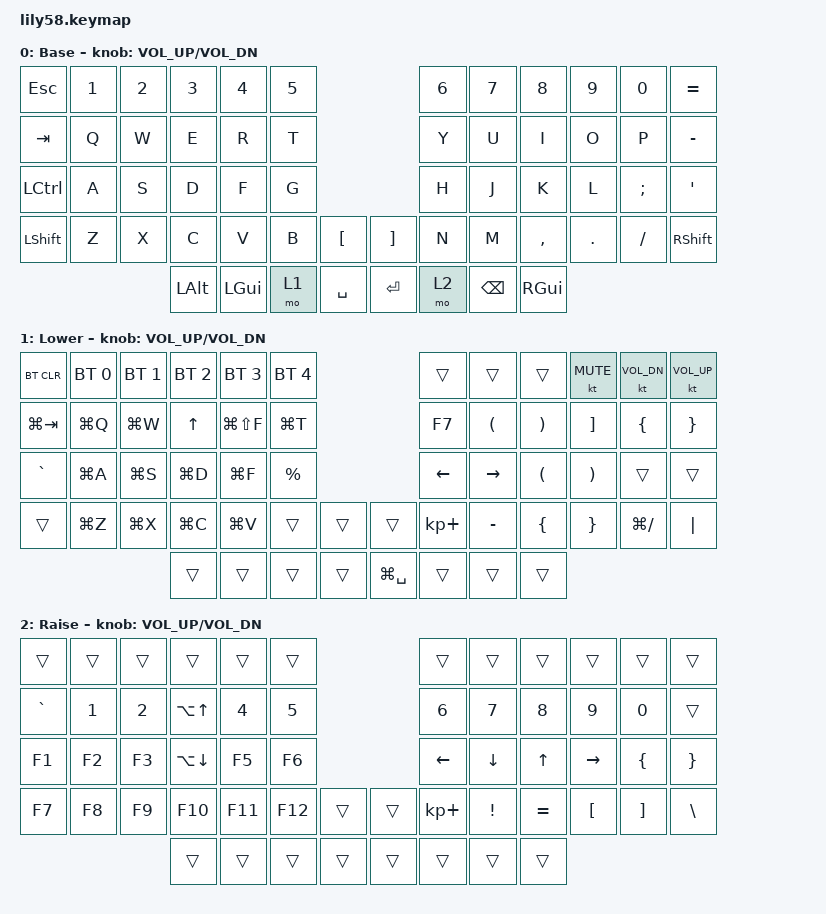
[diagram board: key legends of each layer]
/*
 * Copyright (c) 2020 The ZMK Contributors
 *
 * SPDX-License-Identifier: MIT
 */

#include <behaviors.dtsi>
#include <dt-bindings/zmk/bt.h>
#include <dt-bindings/zmk/keys.h>
#include <dt-bindings/zmk/keys.h>

/ {
    keymap {
        compatible = "zmk,keymap";

        default_layer {
            // ------------------------------------------------------------------------------------------------------------
            // |  ESC  |  1  |  2  |  3   |  4   |  5   |                   |  6   |  7    |  8    |  9   |   0   |   `   |
            // |  TAB  |  Q  |  W  |  E   |  R   |  T   |                   |  Y   |  U    |  I    |  O   |   P   |   -   |
            // |  CTRL |  A  |  S  |  D   |  F   |  G   |                   |  H   |  J    |  K    |  L   |   ;   |   '   |
            // | SHIFT |  Z  |  X  |  C   |  V   |  B   |   "["  |  |  "]"  |  N   |  M    |  ,    |  .   |   /   | SHIFT |
            //                     | ALT  | GUI  | LOWER|  SPACE |  | ENTER | RAISE| BSPC  | GUI   |

            label = "Base";
            bindings = <
&kp ESC    &kp N1  &kp N2  &kp N3    &kp N4    &kp N5                         &kp N6  &kp N7         &kp N8     &kp N9   &kp N0    &kp EQUAL
&kp TAB    &kp Q   &kp W   &kp E     &kp R     &kp T                          &kp Y   &kp U          &kp I      &kp O    &kp P     &kp MINUS
&kp LCTRL  &kp A   &kp S   &kp D     &kp F     &kp G                          &kp H   &kp J          &kp K      &kp L    &kp SEMI  &kp SQT
&kp LSHFT  &kp Z   &kp X   &kp C     &kp V     &kp B   &kp LBKT     &kp RBKT  &kp N   &kp M          &kp COMMA  &kp DOT  &kp FSLH  &kp RSHFT
                           &kp LALT  &kp LGUI  &mo 1   &kp SPACE    &kp RET   &mo 2   &kp BACKSPACE  &kp RGUI
            >;

            sensor-bindings = <&inc_dec_kp C_VOL_UP C_VOL_DN>;
        };

        lower_layer {
            // ------------------------------------------------------------------------------------------------------------
            // | BTCLR | BT1 | BT2 |  BT3 |  BT4 |  BT5 |                   |      |       |       |      |       |       |
            // |  F1   |  F2 |  F3 |  F4  |  F5  |  F6  |                   |  F7  |  F8   |  F9   |  F10 |  F11  |  F12  |
            // |   `   |  !  |  @  |  #   |  $   |  %   |                   |  ^   |  &    |  *    |  (   |   )   |   ~   |
            // |       |     |     |      |      |      |        |  |       |      |  _    |  +    |  {   |   }   |  "|"  |
            //                     |      |      |      |        |  |       |      |       |       |

            label = "Lower";
            bindings = <
&bt BT_CLR   &bt BT_SEL 0  &bt BT_SEL 1  &bt BT_SEL 2  &bt BT_SEL 3   &bt BT_SEL 4                           &trans       &trans                &trans                 &kt K_MUTE             &kt C_VOL_DN    &kt C_VOL_UP
&kp LG(TAB)  &kp LG(Q)     &kp LG(W)     &kp UP_ARROW  &kp LG(LS(F))  &kp LG(T)                              &kp F7       &kp LEFT_PARENTHESIS  &kp RIGHT_PARENTHESIS  &kp RIGHT_BRACKET      &kp LEFT_BRACE  &kp RIGHT_BRACE
&kp GRAVE    &kp LG(A)     &kp LG(S)     &kp LG(D)     &kp LG(F)      &kp PRCNT                              &kp LEFT     &kp RIGHT             &kp LEFT_PARENTHESIS   &kp RIGHT_PARENTHESIS  &trans          &trans
&trans       &kp LG(Z)     &kp LG(X)     &kp LG(C)     &kp LG(V)      &trans        &trans    &trans         &kp KP_PLUS  &kp MINUS             &kp LEFT_BRACE         &kp RIGHT_BRACE        &kp LG(SLASH)   &kp PIPE
                                         &trans        &trans         &trans        &trans    &kp LG(SPACE)  &trans       &trans                &trans
            >;

            sensor-bindings = <&inc_dec_kp C_VOL_UP C_VOL_DN>;
        };

        raise_layer {
            // ------------------------------------------------------------------------------------------------------------
            // |       |     |     |      |      |      |                   |      |       |       |      |       |       |
            // |   `   |  1  |  2  |  3   |  4   |  5   |                   |  6   |   7   |   8   |  9   |   0   |       |
            // |   F1  |  F2 |  F3 |  F4  |  F5  |  F6  |                   |      |   <-  |   v   |  ^   |  ->   |       |
            // |   F7  |  F8 |  F9 |  F10 |  F11 |  F12 |        |  |       |  +   |   -   |   =   |  [   |   ]   |   \   |
            //                     |      |      |      |        |  |       |      |       |       |

            label = "Raise";
            bindings = <
&trans     &trans  &trans  &trans              &trans   &trans                     &trans          &trans           &trans        &trans           &trans          &trans
&kp GRAVE  &kp N1  &kp N2  &kp LA(UP_ARROW)    &kp N4   &kp N5                     &kp N6          &kp N7           &kp N8        &kp N9           &kp N0          &trans
&kp F1     &kp F2  &kp F3  &kp LA(DOWN_ARROW)  &kp F5   &kp F6                     &kp LEFT_ARROW  &kp DOWN_ARROW   &kp UP_ARROW  &kp RIGHT_ARROW  &kp LEFT_BRACE  &kp RIGHT_BRACE
&kp F7     &kp F8  &kp F9  &kp F10             &kp F11  &kp F12  &trans    &trans  &kp KP_PLUS     &kp EXCLAMATION  &kp EQUAL     &kp LBKT         &kp RBKT        &kp BSLH
                           &trans              &trans   &trans   &trans    &trans  &trans          &trans           &trans
            >;

            sensor-bindings = <&inc_dec_kp C_VOL_UP C_VOL_DN>;
        };
    };
};
